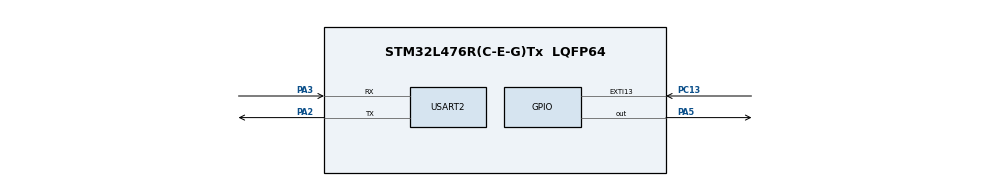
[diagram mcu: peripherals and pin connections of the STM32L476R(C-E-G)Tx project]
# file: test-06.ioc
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Mcu.Family=STM32L4
Mcu.Name=STM32L476R(C-E-G)Tx
Mcu.Package=LQFP64
NVIC.EXTI15_10_IRQn=true\:0\:0\:false\:false\:true\:true\:true\:true
NVIC.PriorityGroup=NVIC_PRIORITYGROUP_4
NVIC.RCC_IRQn=true\:0\:0\:false\:false\:true\:true\:false\:true
NVIC.USART2_IRQn=true\:0\:0\:false\:false\:true\:true\:true\:true
PA13\ (JTMS-SWDIO).Mode=Serial_Wire
PA13\ (JTMS-SWDIO).Signal=SYS_JTMS-SWDIO
PA14\ (JTCK-SWCLK).Mode=Serial_Wire
PA14\ (JTCK-SWCLK).Signal=SYS_JTCK-SWCLK
PA2.Mode=Asynchronous
PA2.Signal=USART2_TX
PA3.Mode=Asynchronous
PA3.Signal=USART2_RX
PA5.Signal=GPIO_Output
PC13.Signal=GPXTI13
ProjectManager.HeapSize=0x200
ProjectManager.StackSize=0x400
ProjectManager.TargetToolchain=STM32CubeIDE
RCC.HSE_VALUE=8000000
RCC.HSI_VALUE=16000000
RCC.LSE_VALUE=32768
RCC.MSI_VALUE=4000000
RCC.VCOOutputFreq_Value=32000000
USART2.VirtualMode-Asynchronous=VM_ASYNC
board=custom

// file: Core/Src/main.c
/* USER CODE BEGIN Header */
/**
  ******************************************************************************
  * @file           : main.c
  * @brief          : Main program body
  ******************************************************************************
  * @attention
  *
  * Copyright (c) 2024 STMicroelectronics.
  * All rights reserved.
  *
  * This software is licensed under terms that can be found in the LICENSE file
  * in the root directory of this software component.
  * If no LICENSE file comes with this software, it is provided AS-IS.
  *
  ******************************************************************************
  */
/* USER CODE END Header */
#include "main.h"

/* USER CODE BEGIN Includes */
#include <stdio.h>
#include <stdbool.h>
#include <stdlib.h>
#include <string.h>

/* USER CODE END Includes */

/* USER CODE BEGIN PD */
char char_buffer = 0;
char buffer[4] = "";
int count = 0;
bool key_flag = false;
char system_message[50] = "";

/* USER CODE END PD */

UART_HandleTypeDef huart2;

void SystemClock_Config(void);
static void MX_GPIO_Init(void);
static void MX_USART2_UART_Init(void);

/* USER CODE BEGIN 0 */
void HAL_UART_RxCpltCallback(UART_HandleTypeDef *huart){

	if(huart->Instance == USART2){
		key_flag= true;
	}
}

void HAL_GPIO_EXTI_Callback(uint16_t GPIO_PIN) {

	if(GPIO_PIN == GPIO_PIN_13){
		HAL_GPIO_TogglePin(GPIOA, GPIO_PIN_5);
	}

}
/* USER CODE END 0 */

int main(void)
{

	/* MCU Configuration--------------------------------------------------------*/

	/* Reset of all peripherals, Initializes the Flash interface and the Systick. */
	HAL_Init();

	/* Configure the system clock */
	SystemClock_Config();

	/* Initialize all configured peripherals */
	MX_GPIO_Init();
	MX_USART2_UART_Init();
	/* USER CODE BEGIN 2 */

	// Program start
	sprintf(system_message, "The program has started. Type something.\r\n");
	HAL_UART_Transmit(&huart2, (uint8_t*)system_message, 50, HAL_MAX_DELAY);

	//Wait for first interrupt
	HAL_UART_Receive_IT(&huart2, (uint8_t*)&char_buffer, sizeof(char_buffer));
	/* USER CODE END 2 */

	/* Infinite loop */
	while (1)
		{

		/* USER CODE BEGIN 3 */
		if(key_flag){
			// Put the character into char_buffer.
			HAL_UART_Receive_IT(&huart2, (uint8_t*)&char_buffer, sizeof(char_buffer));
			key_flag = false;

			// Did the user hit return?
			if(char_buffer == '\r'){
				// Transmit a message
				sprintf(system_message, "\r\nYou pressed enter.\r\n");
				HAL_UART_Transmit(&huart2, (uint8_t*)system_message, strlen(system_message), HAL_MAX_DELAY);

				// Clear the buffer
				count = 0;
				memset(buffer, 0, sizeof(buffer));

			// Backspace handler
			} else if(char_buffer == '\b' || char_buffer == '\177'){
				if(count!=0){
					// Decrement the buffer pointer
					count --;

					// Echo the key
					HAL_UART_Transmit(&huart2, (uint8_t*)&char_buffer, sizeof(char_buffer), HAL_MAX_DELAY);
				}

			// If the buffer isn't full...
			} else if(count < sizeof(buffer)){

			  // Echo the key
			  HAL_UART_Transmit(&huart2, (uint8_t*)&char_buffer, sizeof(char_buffer), HAL_MAX_DELAY);

			  // Add it to the buffer
			  buffer[count] = char_buffer;
			  count ++;

			}
		}
		/* USER CODE END 3 */
	}
}
void SystemClock_Config(void)
{
  RCC_OscInitTypeDef RCC_OscInitStruct = {0};
  RCC_ClkInitTypeDef RCC_ClkInitStruct = {0};

  /** Configure the main internal regulator output voltage
  */
  if (HAL_PWREx_ControlVoltageScaling(PWR_REGULATOR_VOLTAGE_SCALE1) != HAL_OK)
  {
    Error_Handler();
  }

  /** Initializes the RCC Oscillators according to the specified parameters
  * in the RCC_OscInitTypeDef structure.
  */
  RCC_OscInitStruct.OscillatorType = RCC_OSCILLATORTYPE_MSI;
  RCC_OscInitStruct.MSIState = RCC_MSI_ON;
  RCC_OscInitStruct.MSICalibrationValue = 0;
  RCC_OscInitStruct.MSIClockRange = RCC_MSIRANGE_6;
  RCC_OscInitStruct.PLL.PLLState = RCC_PLL_NONE;
  if (HAL_RCC_OscConfig(&RCC_OscInitStruct) != HAL_OK)
  {
    Error_Handler();
  }

  /** Initializes the CPU, AHB and APB buses clocks
  */
  RCC_ClkInitStruct.ClockType = RCC_CLOCKTYPE_HCLK|RCC_CLOCKTYPE_SYSCLK
                              |RCC_CLOCKTYPE_PCLK1|RCC_CLOCKTYPE_PCLK2;
  RCC_ClkInitStruct.SYSCLKSource = RCC_SYSCLKSOURCE_MSI;
  RCC_ClkInitStruct.AHBCLKDivider = RCC_SYSCLK_DIV1;
  RCC_ClkInitStruct.APB1CLKDivider = RCC_HCLK_DIV1;
  RCC_ClkInitStruct.APB2CLKDivider = RCC_HCLK_DIV1;

  if (HAL_RCC_ClockConfig(&RCC_ClkInitStruct, FLASH_LATENCY_0) != HAL_OK)
  {
    Error_Handler();
  }
}

static void MX_USART2_UART_Init(void)
{

  huart2.Instance = USART2;
  huart2.Init.BaudRate = 115200;
  huart2.Init.WordLength = UART_WORDLENGTH_8B;
  huart2.Init.StopBits = UART_STOPBITS_1;
  huart2.Init.Parity = UART_PARITY_NONE;
  huart2.Init.Mode = UART_MODE_TX_RX;
  huart2.Init.HwFlowCtl = UART_HWCONTROL_NONE;
  huart2.Init.OverSampling = UART_OVERSAMPLING_16;
  huart2.Init.OneBitSampling = UART_ONE_BIT_SAMPLE_DISABLE;
  huart2.AdvancedInit.AdvFeatureInit = UART_ADVFEATURE_NO_INIT;
  if (HAL_UART_Init(&huart2) != HAL_OK)
  {
    Error_Handler();
  }

}

static void MX_GPIO_Init(void)
{
  GPIO_InitTypeDef GPIO_InitStruct = {0};

  /* GPIO Ports Clock Enable */
  __HAL_RCC_GPIOC_CLK_ENABLE();
  __HAL_RCC_GPIOA_CLK_ENABLE();

  /*Configure GPIO pin Output Level */
  HAL_GPIO_WritePin(GPIOA, GPIO_PIN_5, GPIO_PIN_RESET);

  /*Configure GPIO pin : PC13 */
  GPIO_InitStruct.Pin = GPIO_PIN_13;
  GPIO_InitStruct.Mode = GPIO_MODE_IT_RISING;
  GPIO_InitStruct.Pull = GPIO_NOPULL;
  HAL_GPIO_Init(GPIOC, &GPIO_InitStruct);

  /*Configure GPIO pin : PA5 */
  GPIO_InitStruct.Pin = GPIO_PIN_5;
  GPIO_InitStruct.Mode = GPIO_MODE_OUTPUT_PP;
  GPIO_InitStruct.Pull = GPIO_NOPULL;
  GPIO_InitStruct.Speed = GPIO_SPEED_FREQ_LOW;
  HAL_GPIO_Init(GPIOA, &GPIO_InitStruct);

  /* EXTI interrupt init*/
  HAL_NVIC_SetPriority(EXTI15_10_IRQn, 0, 0);
  HAL_NVIC_EnableIRQ(EXTI15_10_IRQn);

}

void Error_Handler(void)
{
  __disable_irq();
  while (1)
  {
  }
}
